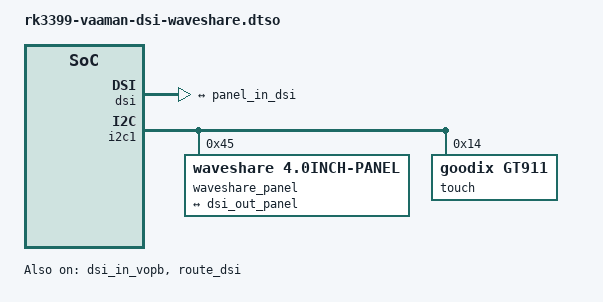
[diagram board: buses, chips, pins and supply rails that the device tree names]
// SPDX-License-Identifier: GPL-2.0+
// Copyright (C) 2023 Vicharak Computers LLP

/dts-v1/;
/plugin/;

#include <dt-bindings/gpio/gpio.h>
#include <dt-bindings/pinctrl/rockchip.h>
#include <dt-bindings/display/drm_mipi_dsi.h>

&{/} {
	metadata {
		title = "Enable Waveshare 4inch DSI LCD";
		compatible = "vicharak,rk3399-vaaman", "rockchip,rk3399";
		category = "display";
		exclusive = "dsi", "hdmi", "cdn_dp";
		description = "Enables support for the Waveshare 4-inch DSI LCD screen.\nPlease note that HDMI/DP output will be disabled as a result.";
	};
};

&dsi {
	status = "okay";

	ports {
		#address-cells = <1>;
		#size-cells = <0>;

		port@1 {
			reg = <1>;

			dsi_out_panel: endpoint {
				remote-endpoint = <&panel_in_dsi>;
			};
		};
	};
};

&i2c1 {
	status = "okay";
	#address-cells = <1>;
	#size-cells = <0>;

	waveshare_panel: panel@45 {
		compatible = "waveshare,4.0inch-panel";
		reg = <0x45>;
		status = "okay";

		port {
			panel_in_dsi: endpoint {
				remote-endpoint = <&dsi_out_panel>;
			};
		};
	};

	touch: goodix@14 {
		reg = <0x14>;
		compatible = "goodix,gt911";
		status = "okay";
	};
};

&dsi_in_vopl {
	status = "disabled";
};

&dsi_in_vopb {
	status = "okay";
};

&dp_in_vopb {
	status = "disabled";
};

&edp_in_vopb {
	status = "disabled";
};

&hdmi_in_vopb {
	status = "disabled";
};

&route_dsi {
	status = "okay";
	connect = <&dsi_in_vopb>;
};

&route_hdmi {
	status = "disabled";
};

&hdmi {
	status = "disabled";
};

&hdmi_sound {
	status = "disabled";
};

&cdn_dp {
	status = "disabled";
};
